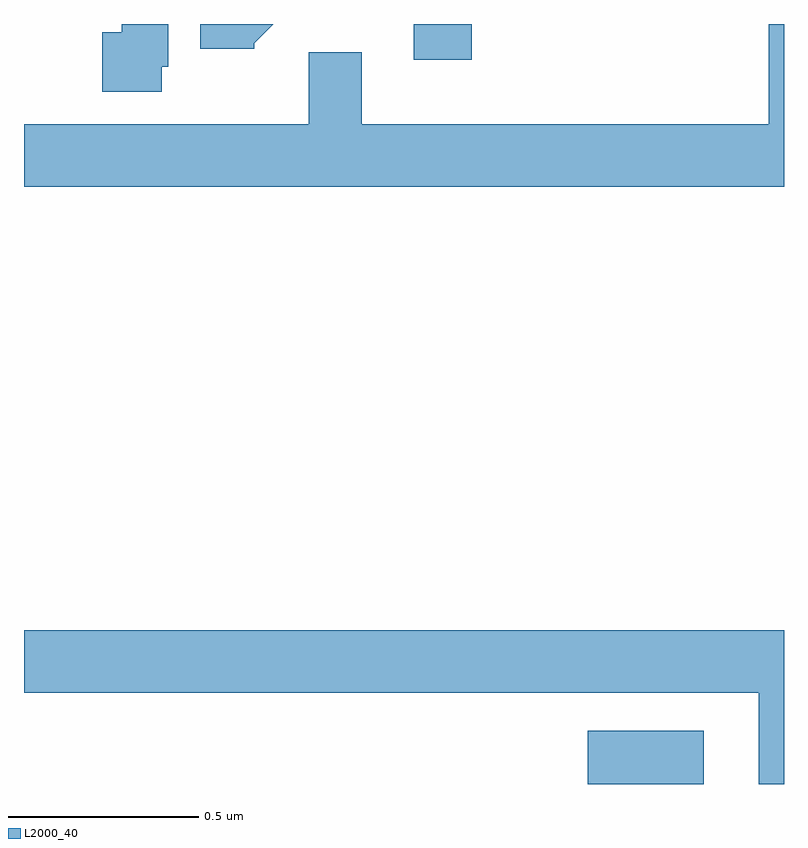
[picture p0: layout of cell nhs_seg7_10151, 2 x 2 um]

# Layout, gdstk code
import gdstk
lib = gdstk.Library(unit=1e-6, precision=1e-09)
def R(c, l, rs):  # rectangles x0, y0, x1, y1
    for r in rs: c.add(gdstk.rectangle(r[:2], r[2:], *l))
def P(c, l, *ps):  # polygons
    for p in ps: c.add(gdstk.Polygon(p, *l))
L2000_40 = (2000, 40)

nhs_seg7_10151 = lib.new_cell('nhs_seg7_10151')
R(nhs_seg7_10151, L2000_40, [(247.484,1043,247.789,1043.14), (247.025,1044.906,247.178,1045)])
P(nhs_seg7_10151, L2000_40, [(248,1045),(247.96,1045),(247.96,1044.736),(246.889,1044.736),(246.889,1044.926),(246.749,1044.926),(246.749,1044.736),(246,1044.736),(246,1044.572),(248,1044.572)],
  [(246.606,1044.95),(246.656,1045),(246.464,1045),(246.464,1044.935),(246.606,1044.935)],
  [(246.363,1044.888),(246.379,1044.888),(246.379,1045),(246.257,1045),(246.257,1044.978),(246.206,1044.978),(246.206,1044.822),(246.363,1044.822)],
  [(248,1043.404),(246,1043.404),(246,1043.24),(247.934,1043.24),(247.934,1043),(248,1043)])

lib.write_gds('nhs_seg7_10151.gds')
